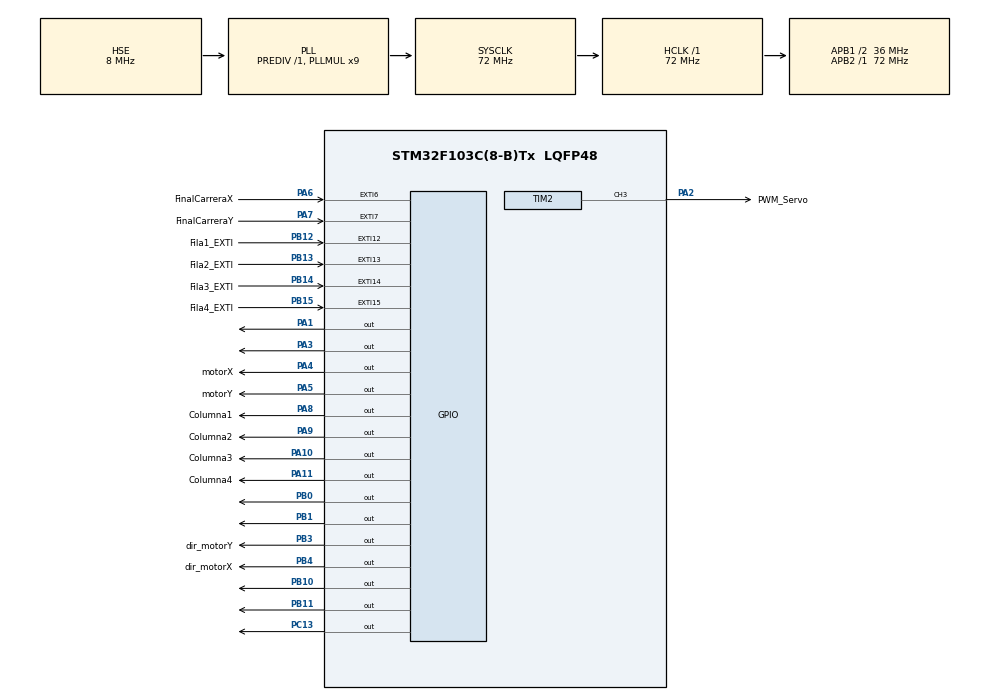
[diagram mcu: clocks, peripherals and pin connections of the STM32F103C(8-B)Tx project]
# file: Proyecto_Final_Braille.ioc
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Mcu.Family=STM32F1
Mcu.Name=STM32F103C(8-B)Tx
Mcu.Package=LQFP48
NVIC.EXTI15_10_IRQn=true\:5\:0\:true\:false\:true\:true\:true\:true
NVIC.EXTI9_5_IRQn=true\:0\:0\:false\:false\:true\:true\:true\:true
NVIC.PriorityGroup=NVIC_PRIORITYGROUP_4
NVIC.TIM4_IRQn=true\:0\:0\:false\:false\:true\:true\:true\:true
PA1.Signal=GPIO_Output
PA10.GPIO_Label=Columna3
PA10.Signal=GPIO_Output
PA11.GPIO_Label=Columna4
PA11.Signal=GPIO_Output
PA13.Mode=Serial_Wire
PA13.Signal=SYS_JTMS-SWDIO
PA14.Mode=Serial_Wire
PA14.Signal=SYS_JTCK-SWCLK
PA2.GPIO_Label=PWM_Servo
PA2.Signal=S_TIM2_CH3
PA3.Signal=GPIO_Output
PA4.GPIO_Label=motorX
PA4.Signal=GPIO_Output
PA5.GPIO_Label=motorY
PA5.Signal=GPIO_Output
PA6.GPIO_Label=FinalCarreraX
PA6.GPIO_PuPd=GPIO_PULLDOWN
PA6.Signal=GPXTI6
PA7.GPIO_Label=FinalCarreraY
PA7.GPIO_PuPd=GPIO_PULLDOWN
PA7.Signal=GPXTI7
PA8.GPIO_Label=Columna1
PA8.Signal=GPIO_Output
PA9.GPIO_Label=Columna2
PA9.Signal=GPIO_Output
PB0.Signal=GPIO_Output
PB1.Signal=GPIO_Output
PB10.Signal=GPIO_Output
PB11.Signal=GPIO_Output
PB12.GPIO_Label=Fila1_EXTI
PB12.GPIO_ModeDefaultEXTI=GPIO_MODE_IT_RISING
PB12.GPIO_PuPd=GPIO_PULLDOWN
PB12.Signal=GPXTI12
PB13.GPIO_Label=Fila2_EXTI
PB13.GPIO_PuPd=GPIO_PULLDOWN
PB13.Signal=GPXTI13
PB14.GPIO_Label=Fila3_EXTI
PB14.GPIO_PuPd=GPIO_PULLDOWN
PB14.Signal=GPXTI14
PB15.GPIO_Label=Fila4_EXTI
PB15.GPIO_PuPd=GPIO_PULLDOWN
PB15.Signal=GPXTI15
PB3.GPIO_Label=dir_motorY
PB3.Signal=GPIO_Output
PB4.GPIO_Label=dir_motorX
PB4.Signal=GPIO_Output
PC13-TAMPER-RTC.Signal=GPIO_Output
PD0-OSC_IN.Mode=HSE-External-Oscillator
PD0-OSC_IN.Signal=RCC_OSC_IN
PD1-OSC_OUT.Mode=HSE-External-Oscillator
PD1-OSC_OUT.Signal=RCC_OSC_OUT
ProjectManager.HeapSize=0x200
ProjectManager.StackSize=0x400
ProjectManager.TargetToolchain=STM32CubeIDE
RCC.AHBFreq_Value=72000000
RCC.APB1CLKDivider=RCC_HCLK_DIV2
RCC.APB1Freq_Value=36000000
RCC.APB1TimFreq_Value=72000000
RCC.APB2Freq_Value=72000000
RCC.APB2TimFreq_Value=72000000
RCC.HCLKFreq_Value=72000000
RCC.PLLMUL=RCC_PLL_MUL9
RCC.PLLSourceVirtual=RCC_PLLSOURCE_HSE
RCC.SYSCLKFreq_VALUE=72000000
RCC.SYSCLKSource=RCC_SYSCLKSOURCE_PLLCLK
RCC.USBFreq_Value=72000000
SH.S_TIM2_CH3.0=TIM2_CH3,PWM Generation3 CH3
TIM2.Channel-PWM\ Generation3\ CH3=TIM_CHANNEL_3
TIM2.Period=22500
TIM2.Prescaler=64
TIM4.Period=7199
TIM4.Prescaler=10
VP_TIM2_VS_ClockSourceINT.Mode=Internal
VP_TIM4_VS_ClockSourceINT.Mode=Internal
board=custom

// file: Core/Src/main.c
/* USER CODE BEGIN Header */
/**
  ******************************************************************************
  * @file           : main.c
  * @brief          : Main program body
  ******************************************************************************
  * @attention
  *
  * Copyright (c) 2024 STMicroelectronics.
  * All rights reserved.
  *
  * This software is licensed under terms that can be found in the LICENSE file
  * in the root directory of this software component.
  * If no LICENSE file comes with this software, it is provided AS-IS.
  *
  ******************************************************************************
  */
/* USER CODE END Header */
#include "main.h"

/* USER CODE BEGIN Includes */

#include "Manejo_Interrupciones.h"
#include "Homing.h"
#include "lcd.h"

/* USER CODE END Includes */

TIM_HandleTypeDef htim2;
TIM_HandleTypeDef htim4;	//Timer que se utilizo para Funcion_Delay (no esta siendo utilizada)

/* USER CODE BEGIN PV */
int8_t interrupcion = 0;
uint32_t miliseg_prev = 0;
uint32_t miliseg_actual = 0;
GPIO_InitTypeDef GPIO_InitStructPrivate = {0};
volatile uint32_t contador_ms = 0;
EstadoImpresora estado_impresora;
uint8_t homingX = 0; // Declaración e inicialización de homingX
uint8_t homingY = 0; // Declaración e inicialización de homingY

//uint8_t homingX = 0;
//uint8_t homingY = 0;
/* USER CODE END PV */

void SystemClock_Config(void);
static void MX_GPIO_Init(void);
static void MX_TIM2_Init(void);
static void MX_TIM4_Init(void);

int main(void)
{

  /* MCU Configuration--------------------------------------------------------*/

  /* Reset of all peripherals, Initializes the Flash interface and the Systick. */
  HAL_Init();

  /* Configure the system clock */
  SystemClock_Config();

  /* Initialize all configured peripherals */
  MX_GPIO_Init();
  MX_TIM2_Init();
  MX_TIM4_Init();
  /* USER CODE BEGIN 2 */
  HAL_TIM_PWM_Start(&htim2, TIM_CHANNEL_3);		//Inicia generacion de señal PWM
  HAL_TIM_Base_Start_IT(&htim4);	// Inicia el temporizador de base asociado con el temporizador TIM4

  TIM2->CCR3 = 550;	//Establece el valor de comparacion en 550
  HAL_GPIO_WritePin(GPIOB, dir_motorX_Pin, GPIO_PIN_SET);
  HAL_GPIO_WritePin(GPIOB, dir_motorY_Pin, GPIO_PIN_SET);
  //HAL_GPIO_WritePin(GPIOB, dir_motorX_Pin, GPIO_PIN_RESET);
  //HAL_GPIO_WritePin(GPIOB, dir_motorY_Pin, GPIO_PIN_SET);

  Lcd_PortType ports[] = { GPIOB, GPIOB, GPIOB, GPIOB };	//Declaramos los puertos GPIO a los que están conectados los pines de la pantalla LCD en el orden correspondiente: RS, RW, E, D4.
  Lcd_PinType pins[] = {GPIO_PIN_0, GPIO_PIN_1, GPIO_PIN_10, GPIO_PIN_11};	//Declaramos los pines GPIO específicos a los que están conectados los pines de la pantalla LCD en el mismo orden que los puertos.
  Lcd_HandleTypeDef lcd;	//Declaramos una variable para almacenar la configuración y el estado de la pantalla LCD.
  lcd = Lcd_create(ports, pins, GPIOA, GPIO_PIN_1, GPIOA, GPIO_PIN_3, LCD_4_BIT_MODE);	//Inicializamos la variable lcd llamando a la función Lcd_create con los parámetros necesarios para configurar la pantalla LCD.
  /* USER CODE END 2 */

  /* Infinite loop */
  /* USER CODE BEGIN WHILE */

  /*HAL_NVIC_DisableIRQ(EXTI15_10_IRQn);	//Esta parte comentada es para hacer pruebas de Funcion_Delay()

  while(1){
	  HAL_GPIO_TogglePin(GPIOC, GPIO_PIN_13);
	  delay(1000);
  }*/
  Lcd_init(&lcd);
  Lcd_clear(&lcd);
  Lcd_cursor(&lcd, 0,1);
  Lcd_string(&lcd, " Elija opcion");
  HAL_Delay(3000);
  estado_impresora = MENU;

  //variable_AUX = 0;	//Sacar esta linea una vez que funcione el codigo completo

  while (1)
  {
	  if(estado_impresora == TEXTO || estado_impresora == IMPRIMIR || estado_impresora == HOME){

			Manejo_Interrupciones(interrupcion);
			HAL_GPIO_WritePin(GPIOA, Columna1_Pin, 1);	//Asigno valores a pines del teclado matricial para que funcionen las interrupciones
			HAL_GPIO_WritePin(GPIOA, Columna2_Pin, 1);
			HAL_GPIO_WritePin(GPIOA, Columna3_Pin, 1);
			HAL_GPIO_WritePin(GPIOA, Columna4_Pin, 1);
			if (estado_impresora == MENU){
			}
			else{
				estado_impresora = ESPERAR;
			}
	  }
	  else if(estado_impresora == MENU){
			Lcd_clear(&lcd);
			Lcd_cursor(&lcd, 0,0);
			Lcd_string(&lcd, "A)Text   B)Home");
			Lcd_cursor(&lcd, 1,0);
			Lcd_string(&lcd, "C)Print  D)Back");
			HAL_GPIO_WritePin(GPIOA, Columna1_Pin, 0);	//Asigno valores a pines del teclado matricial para que funcionen las interrupciones
			HAL_GPIO_WritePin(GPIOA, Columna2_Pin, 0);
			HAL_GPIO_WritePin(GPIOA, Columna3_Pin, 0);
			HAL_GPIO_WritePin(GPIOA, Columna4_Pin, 1);	//Solamente habilita las teclas A, B, C y D
			while(estado_impresora == MENU){
			}
	  }
	  else if(estado_impresora == ESPERAR){	//Evita la actualizacion de la pantalla mientras no se hace nada
	  }
  }
    /* USER CODE END WHILE */

}

void SystemClock_Config(void)
{
  RCC_OscInitTypeDef RCC_OscInitStruct = {0};
  RCC_ClkInitTypeDef RCC_ClkInitStruct = {0};

  /** Initializes the RCC Oscillators according to the specified parameters
  * in the RCC_OscInitTypeDef structure.
  */
  RCC_OscInitStruct.OscillatorType = RCC_OSCILLATORTYPE_HSE;
  RCC_OscInitStruct.HSEState = RCC_HSE_ON;
  RCC_OscInitStruct.HSEPredivValue = RCC_HSE_PREDIV_DIV1;
  RCC_OscInitStruct.HSIState = RCC_HSI_ON;
  RCC_OscInitStruct.PLL.PLLState = RCC_PLL_ON;
  RCC_OscInitStruct.PLL.PLLSource = RCC_PLLSOURCE_HSE;
  RCC_OscInitStruct.PLL.PLLMUL = RCC_PLL_MUL9;
  if (HAL_RCC_OscConfig(&RCC_OscInitStruct) != HAL_OK)
  {
    Error_Handler();
  }

  /** Initializes the CPU, AHB and APB buses clocks
  */
  RCC_ClkInitStruct.ClockType = RCC_CLOCKTYPE_HCLK|RCC_CLOCKTYPE_SYSCLK
                              |RCC_CLOCKTYPE_PCLK1|RCC_CLOCKTYPE_PCLK2;
  RCC_ClkInitStruct.SYSCLKSource = RCC_SYSCLKSOURCE_PLLCLK;
  RCC_ClkInitStruct.AHBCLKDivider = RCC_SYSCLK_DIV1;
  RCC_ClkInitStruct.APB1CLKDivider = RCC_HCLK_DIV2;
  RCC_ClkInitStruct.APB2CLKDivider = RCC_HCLK_DIV1;

  if (HAL_RCC_ClockConfig(&RCC_ClkInitStruct, FLASH_LATENCY_2) != HAL_OK)
  {
    Error_Handler();
  }
}

static void MX_TIM2_Init(void)
{

  TIM_ClockConfigTypeDef sClockSourceConfig = {0};
  TIM_MasterConfigTypeDef sMasterConfig = {0};
  TIM_OC_InitTypeDef sConfigOC = {0};

  htim2.Instance = TIM2;
  htim2.Init.Prescaler = 64;
  htim2.Init.CounterMode = TIM_COUNTERMODE_UP;
  htim2.Init.Period = 22500;
  htim2.Init.ClockDivision = TIM_CLOCKDIVISION_DIV1;
  htim2.Init.AutoReloadPreload = TIM_AUTORELOAD_PRELOAD_DISABLE;
  if (HAL_TIM_Base_Init(&htim2) != HAL_OK)
  {
    Error_Handler();
  }
  sClockSourceConfig.ClockSource = TIM_CLOCKSOURCE_INTERNAL;
  if (HAL_TIM_ConfigClockSource(&htim2, &sClockSourceConfig) != HAL_OK)
  {
    Error_Handler();
  }
  if (HAL_TIM_PWM_Init(&htim2) != HAL_OK)
  {
    Error_Handler();
  }
  sMasterConfig.MasterOutputTrigger = TIM_TRGO_RESET;
  sMasterConfig.MasterSlaveMode = TIM_MASTERSLAVEMODE_DISABLE;
  if (HAL_TIMEx_MasterConfigSynchronization(&htim2, &sMasterConfig) != HAL_OK)
  {
    Error_Handler();
  }
  sConfigOC.OCMode = TIM_OCMODE_PWM1;
  sConfigOC.Pulse = 0;
  sConfigOC.OCPolarity = TIM_OCPOLARITY_HIGH;
  sConfigOC.OCFastMode = TIM_OCFAST_DISABLE;
  if (HAL_TIM_PWM_ConfigChannel(&htim2, &sConfigOC, TIM_CHANNEL_3) != HAL_OK)
  {
    Error_Handler();
  }
  HAL_TIM_MspPostInit(&htim2);

}

static void MX_TIM4_Init(void)
{

  TIM_ClockConfigTypeDef sClockSourceConfig = {0};
  TIM_MasterConfigTypeDef sMasterConfig = {0};

  htim4.Instance = TIM4;
  htim4.Init.Prescaler = 10;
  htim4.Init.CounterMode = TIM_COUNTERMODE_UP;
  htim4.Init.Period = 7199;
  htim4.Init.ClockDivision = TIM_CLOCKDIVISION_DIV1;
  htim4.Init.AutoReloadPreload = TIM_AUTORELOAD_PRELOAD_DISABLE;
  if (HAL_TIM_Base_Init(&htim4) != HAL_OK)
  {
    Error_Handler();
  }
  sClockSourceConfig.ClockSource = TIM_CLOCKSOURCE_INTERNAL;
  if (HAL_TIM_ConfigClockSource(&htim4, &sClockSourceConfig) != HAL_OK)
  {
    Error_Handler();
  }
  sMasterConfig.MasterOutputTrigger = TIM_TRGO_RESET;
  sMasterConfig.MasterSlaveMode = TIM_MASTERSLAVEMODE_DISABLE;
  if (HAL_TIMEx_MasterConfigSynchronization(&htim4, &sMasterConfig) != HAL_OK)
  {
    Error_Handler();
  }

}

static void MX_GPIO_Init(void)
{
  GPIO_InitTypeDef GPIO_InitStruct = {0};

  /* GPIO Ports Clock Enable */
  __HAL_RCC_GPIOC_CLK_ENABLE();
  __HAL_RCC_GPIOD_CLK_ENABLE();
  __HAL_RCC_GPIOA_CLK_ENABLE();
  __HAL_RCC_GPIOB_CLK_ENABLE();

  /*Configure GPIO pin Output Level */
  HAL_GPIO_WritePin(GPIOC, GPIO_PIN_13, GPIO_PIN_RESET);

  /*Configure GPIO pin Output Level */
  HAL_GPIO_WritePin(GPIOA, GPIO_PIN_1|GPIO_PIN_3|motorX_Pin|motorY_Pin
                          |Columna1_Pin|Columna2_Pin|Columna3_Pin|Columna4_Pin, GPIO_PIN_RESET);

  /*Configure GPIO pin Output Level */
  HAL_GPIO_WritePin(GPIOB, GPIO_PIN_0|GPIO_PIN_1|GPIO_PIN_10|GPIO_PIN_11
                          |dir_motorY_Pin|dir_motorX_Pin, GPIO_PIN_RESET);

  /*Configure GPIO pin : PC13 */
  GPIO_InitStruct.Pin = GPIO_PIN_13;
  GPIO_InitStruct.Mode = GPIO_MODE_OUTPUT_PP;
  GPIO_InitStruct.Pull = GPIO_NOPULL;
  GPIO_InitStruct.Speed = GPIO_SPEED_FREQ_LOW;
  HAL_GPIO_Init(GPIOC, &GPIO_InitStruct);

  /*Configure GPIO pins : PA1 PA3 motorX_Pin motorY_Pin
                           Columna1_Pin Columna2_Pin Columna3_Pin Columna4_Pin */
  GPIO_InitStruct.Pin = GPIO_PIN_1|GPIO_PIN_3|motorX_Pin|motorY_Pin
                          |Columna1_Pin|Columna2_Pin|Columna3_Pin|Columna4_Pin;
  GPIO_InitStruct.Mode = GPIO_MODE_OUTPUT_PP;
  GPIO_InitStruct.Pull = GPIO_NOPULL;
  GPIO_InitStruct.Speed = GPIO_SPEED_FREQ_LOW;
  HAL_GPIO_Init(GPIOA, &GPIO_InitStruct);

  /*Configure GPIO pins : FinalCarreraX_Pin FinalCarreraY_Pin */
  GPIO_InitStruct.Pin = FinalCarreraX_Pin|FinalCarreraY_Pin;
  GPIO_InitStruct.Mode = GPIO_MODE_IT_RISING;
  GPIO_InitStruct.Pull = GPIO_PULLDOWN;
  HAL_GPIO_Init(GPIOA, &GPIO_InitStruct);

  /*Configure GPIO pins : PB0 PB1 PB10 PB11
                           dir_motorY_Pin dir_motorX_Pin */
  GPIO_InitStruct.Pin = GPIO_PIN_0|GPIO_PIN_1|GPIO_PIN_10|GPIO_PIN_11
                          |dir_motorY_Pin|dir_motorX_Pin;
  GPIO_InitStruct.Mode = GPIO_MODE_OUTPUT_PP;
  GPIO_InitStruct.Pull = GPIO_NOPULL;
  GPIO_InitStruct.Speed = GPIO_SPEED_FREQ_LOW;
  HAL_GPIO_Init(GPIOB, &GPIO_InitStruct);

  /*Configure GPIO pins : Fila1_EXTI_Pin Fila2_EXTI_Pin Fila3_EXTI_Pin Fila4_EXTI_Pin */
  GPIO_InitStruct.Pin = Fila1_EXTI_Pin|Fila2_EXTI_Pin|Fila3_EXTI_Pin|Fila4_EXTI_Pin;
  GPIO_InitStruct.Mode = GPIO_MODE_IT_RISING;
  GPIO_InitStruct.Pull = GPIO_PULLDOWN;
  HAL_GPIO_Init(GPIOB, &GPIO_InitStruct);

  /* EXTI interrupt init*/
  HAL_NVIC_SetPriority(EXTI9_5_IRQn, 0, 0);
  HAL_NVIC_EnableIRQ(EXTI9_5_IRQn);

  HAL_NVIC_SetPriority(EXTI15_10_IRQn, 5, 0);
  HAL_NVIC_EnableIRQ(EXTI15_10_IRQn);

}

/* USER CODE BEGIN 4 */
void HAL_GPIO_EXTI_Callback(uint16_t GPIO_Pin) {

	  miliseg_actual = HAL_GetTick();
	  if ((miliseg_actual - miliseg_prev > 100)) {
		HAL_GPIO_TogglePin(GPIOC, GPIO_PIN_13);	//Indicador visual para saber cuando entro a la interrupcion (led incorporado en bluepill)

		if(estado_impresora == ESPERAR || estado_impresora == TEXTO){
			if(GPIO_Pin == Fila1_EXTI_Pin && HAL_GPIO_ReadPin(GPIOB, Fila1_EXTI_Pin)){	//Tuve que eliminar lo que quedo comentado porque la lectura no la hacia correc
				interrupcion = 1;
				estado_impresora = TEXTO;
			}
			else if(GPIO_Pin == Fila2_EXTI_Pin && HAL_GPIO_ReadPin(GPIOB, Fila2_EXTI_Pin)){
				interrupcion = 2;
				estado_impresora = TEXTO;
			}
			else if(GPIO_Pin == Fila3_EXTI_Pin && HAL_GPIO_ReadPin(GPIOB, Fila3_EXTI_Pin)){
				interrupcion = 3;
				estado_impresora = TEXTO;
			}
			if(GPIO_Pin == Fila4_EXTI_Pin && HAL_GPIO_ReadPin(GPIOB, Fila4_EXTI_Pin)){
					interrupcion = 4;
					estado_impresora = TEXTO;
					//estado_impresora = ATRAS;
			}
		}
		else if(estado_impresora == MENU){
			if(GPIO_Pin == Fila1_EXTI_Pin && HAL_GPIO_ReadPin(GPIOB, Fila1_EXTI_Pin)){	//Tuve que eliminar lo que quedo comentado porque la lectura no la hacia correc
				estado_impresora = TEXTO;
			}
			else if(GPIO_Pin == Fila2_EXTI_Pin && HAL_GPIO_ReadPin(GPIOB, Fila2_EXTI_Pin)){
				estado_impresora = HOME;
			}
			else if(GPIO_Pin == Fila3_EXTI_Pin && HAL_GPIO_ReadPin(GPIOB, Fila3_EXTI_Pin)){
				estado_impresora = IMPRIMIR;
			}
			if(GPIO_Pin == Fila4_EXTI_Pin && HAL_GPIO_ReadPin(GPIOB, Fila4_EXTI_Pin)){
				estado_impresora = MENU;
			}
		}
		if(GPIO_Pin == FinalCarreraX_Pin && HAL_GPIO_ReadPin(GPIOA, FinalCarreraX_Pin)){
			HAL_GPIO_TogglePin(GPIOC, GPIO_PIN_13);	//Indicador cuando el FC ha sido pulsado
			if (estado_impresora == IMPRIMIR){
				  while(1){}	//Se debe reiniciar la impresora
			}
			else if(estado_impresora == HOME){
					homingX++;	//Varia variable para realizar las diferentes acciones en Homing()
			}
		}
		else if(GPIO_Pin == FinalCarreraY_Pin && HAL_GPIO_ReadPin(GPIOA, FinalCarreraY_Pin)){
			HAL_GPIO_TogglePin(GPIOC, GPIO_PIN_13);
			if (estado_impresora == IMPRIMIR){
				  while(1){}	//Se debe reiniciar la impresora

			}
			else if(estado_impresora == HOME){
					homingY++;
			}
		}
	  }
  }
	  //miliseg_prev = miliseg_actual;

void HAL_TIM_PeriodElapsedCallback(TIM_HandleTypeDef *htim) {
    if (htim == &htim4) {
        contador_ms++; // Incrementa el contador de milisegundos
    }
}
/* USER CODE END 4 */

void Error_Handler(void)
{
  __disable_irq();
  while (1)
  {
  }
}
